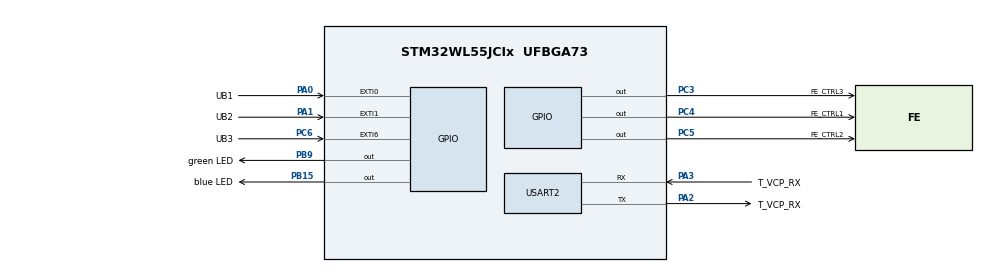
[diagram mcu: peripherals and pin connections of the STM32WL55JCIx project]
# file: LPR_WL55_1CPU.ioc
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Mcu.Family=STM32WL
Mcu.Name=STM32WL55JCIx
Mcu.Package=UFBGA73
NVIC.EXTI0_IRQn=true\:0\:0\:false\:false\:true\:true\:true\:true
NVIC.EXTI1_IRQn=true\:0\:0\:false\:false\:true\:true\:true\:true
NVIC.EXTI9_5_IRQn=true\:0\:0\:false\:false\:true\:true\:true\:true
NVIC.PriorityGroup=NVIC_PRIORITYGROUP_4
PA0.GPIO_Label=UB1
PA0.GPIO_ModeDefaultEXTI=GPIO_MODE_IT_FALLING
PA0.GPIO_PuPd=GPIO_PULLUP
PA0.Signal=GPXTI0
PA1.GPIO_Label=UB2
PA1.GPIO_ModeDefaultEXTI=GPIO_MODE_IT_FALLING
PA1.GPIO_PuPd=GPIO_PULLUP
PA1.Signal=GPXTI1
PA13.Mode=Serial_Wire
PA13.Signal=DEBUG_JTMS-SWDIO
PA14.Mode=Serial_Wire
PA14.Signal=DEBUG_JTCK-SWCLK
PA2.GPIO_Label=T_VCP_RX
PA2.Mode=Asynchronous
PA2.Signal=USART2_TX
PA3.GPIO_Label=T_VCP_RX
PA3.Mode=Asynchronous
PA3.Signal=USART2_RX
PB15.GPIO_Label=blue LED
PB15.Signal=GPIO_Output
PB9.GPIO_Label=green LED
PB9.Signal=GPIO_Output
PC14-OSC32_IN.GPIO_Label=RCC_OSC32_IN
PC14-OSC32_IN.Signal=RCC_OSC32_IN
PC15-OSC32_OUT.GPIO_Label=RCC_OSC32_OUT
PC15-OSC32_OUT.Signal=RCC_OSC32_OUT
PC3.GPIO_Label=FE_CTRL3
PC3.GPIO_Speed=GPIO_SPEED_FREQ_VERY_HIGH
PC3.Signal=GPIO_Output
PC4.GPIO_Label=FE_CTRL1
PC4.GPIO_Speed=GPIO_SPEED_FREQ_VERY_HIGH
PC4.Signal=GPIO_Output
PC5.GPIO_Label=FE_CTRL2
PC5.GPIO_Speed=GPIO_SPEED_FREQ_VERY_HIGH
PC5.Signal=GPIO_Output
PC6.GPIO_Label=UB3
PC6.GPIO_ModeDefaultEXTI=GPIO_MODE_IT_FALLING
PC6.GPIO_PuPd=GPIO_PULLUP
PC6.Signal=GPXTI6
ProjectManager.HeapSize=0x200
ProjectManager.StackSize=0x400
ProjectManager.TargetToolchain=STM32CubeIDE
RCC.AHBFreq_Value=48000000
RCC.APB1Freq_Value=48000000
RCC.APB1TimFreq_Value=48000000
RCC.APB2Freq_Value=48000000
RCC.APB2TimFreq_Value=48000000
RCC.APB3Freq_Value=48000000
RCC.CortexFreq_Value=48000000
RCC.HCLKFreq_Value=48000000
RCC.HSE_VALUE=32000000
RCC.HSI_VALUE=16000000
RCC.LSE_VALUE=32768
RCC.PLLN=24
RCC.SYSCLKFreq_VALUE=48000000
RCC.SYSCLKSource=RCC_SYSCLKSOURCE_PLLCLK
RCC.VCOOutputFreq_Value=96000000
USART2.VirtualMode-Asynchronous=VM_ASYNC
board=NUCLEO-WL55JC1

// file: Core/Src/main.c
/* USER CODE BEGIN Header */
/**
  ******************************************************************************
  * @file           : main.c
  * @brief          : Main program body
  ******************************************************************************
  * @attention
  *
  * Copyright (c) 2025 STMicroelectronics.
  * All rights reserved.
  *
  * This software is licensed under terms that can be found in the LICENSE file
  * in the root directory of this software component.
  * If no LICENSE file comes with this software, it is provided AS-IS.
  *
  ******************************************************************************
  */
/* USER CODE END Header */
#include "main.h"

/* USER CODE BEGIN Includes */
#include <stdio.h>
/* USER CODE END Includes */

UART_HandleTypeDef huart2;

void SystemClock_Config(void);
static void MX_GPIO_Init(void);
static void MX_USART2_UART_Init(void);

/* USER CODE BEGIN 0 */

/**
  * @brief Redirect the output of printf to USART2
  * @retval int
  */
int __io_putchar(int ch){
	HAL_UART_Transmit(&huart2, &ch, 1, 1000);
}

/* @brief Easier way (attempt #2) to reduce / increase HCLK1 frequency by
 * changing the AHB divider, without reconfiguring oscillators or PLL.
 * Assumes SYSCLK is initially set at 48 MHz.
 * Use register-access instructions (according to datasheet guidance),
 * on RCC clock configuration register (RCC_CFGR).
 * @params dividerX accepts the following values:
 * 2, 3, 4, 5, 6, 8, 10, 16, 32, 64, 128, 256, 512.
 * Any other value does not divide SYSCLK (1 does not divide, >512 divides too much,
 * and by default, any unusual value will not divide).
 * @retval None
 */
void Divide_HCLK1_By_X(uint16_t dividerX){
    uint8_t HCLK1_prescaler;
    if (dividerX >= 2 || dividerX <= 512){
      switch(dividerX){
        case 2:   HCLK1_prescaler = 8;    break; // "1000"
        case 3:   HCLK1_prescaler = 1;    break; // "0001"
        case 4:   HCLK1_prescaler = 9;    break; // "1001"
        case 5:   HCLK1_prescaler = 2;    break; // "0010"
        case 6:   HCLK1_prescaler = 5;    break; // "0101"
        case 8:   HCLK1_prescaler = 10;   break; // "1010"
        case 10:  HCLK1_prescaler = 6;    break; // "0110"
        case 16:  HCLK1_prescaler = 11;   break; // "1011"
        case 32:  HCLK1_prescaler = 7;    break; // "0111"
        case 64:  HCLK1_prescaler = 12;   break; // "1100"
        case 128: HCLK1_prescaler = 13;   break; // "1101"
        case 256: HCLK1_prescaler = 14;   break; // "1110"
        case 512: HCLK1_prescaler = 15;   break; // "1111"
        default:  HCLK1_prescaler = 0; break; // "0000", no division
      }
    } else HCLK1_prescaler = 0; // no division

    // Reset the current prescaler value into bits 7 to 4 (HPRE)
    RCC -> CFGR &= ~(0xF << 4);
    // Insert the new prescaler value
    RCC -> CFGR |= (HCLK1_prescaler << 4);
    /* Wait for the hardware to aknowledge the new prescaler value
     * using HCLK1 prescaler flag (HPREF) on bit 16:
     * 0 → HCLK1 prescaler value not yet applied
     * 1 → HCLK1 prescaler value applied (RCC -> CFGR & (1 << 16))
     * OR using LL function `LL_RCC_IsActiveFlag_HPRE(void)`
     */ while(!(LL_RCC_IsActiveFlag_HPRE())){}
}

/** @brief Makes the CPU goes into low power run mode,
  * according to the datasheet guidance.
  * For this first test, HSE32 is not used.
  * @retval None
  */
void Enter_LowPowerRunMode(void){
	// 1. set the FPDR bit in PWR_CR1.
	HAL_PWREx_EnableFlashPowerDown(PWR_FLASHPD_LPRUN);

	// 2. Disable HSE32 clock (optionnal if not used, which is our case here).

	// 3. Decrease the HCLK clock frequencies below 2 MHz.
	// 48 MHz / X ≤ 2 MHz → X ≥ 24; but 24 is not a usual value of divider
	// among 1, 2, 3, 4, 5, 6, 8, 10, 16, 32, 64, 128, 256 and 512.
	// So we take the next higher value, 32.
	Divide_HCLK1_By_X(32);

	// 4. Set the LPR bit in PWR_CR1.
	HAL_PWREx_EnableLowPowerRunMode();

	// 5. Check if the low-power regulator is ready,
	// by checking the REGLPS bit (PWR_SR2, bit 8)
	while(!(LL_PWR_IsActiveFlag_REGLPS())){}
}

/** @brief Wakes up the CPU from low power run mode,
  * according to the datasheet guidance.
  * For this first test, HSE32 is not used.
  * @params newHCLKFreq is the divider applied to SYSCLK (48 MHz) to increase back
  * HCLK frequency over 2 MHz, can take the following values:
  * 1, 2, 3, 4, 5, 6, 8, 10, 16, 32, 64, 128, 256, 512, but MUST BE lower than 24;
  * e.g. among the nine first values.
  * @retval None
  */
void Exit_LowPowerRunMode(uint8_t newHCLKFreq){
	// 1. Clear the LPR bit in PWR_CR1, and,
	// 2. wait until REGLPF bit is cleared in PWR_SR2.
	HAL_PWREx_DisableLowPowerRunMode();

	// 3. Increase the HCLK clock frequencies over 2 MHz.
	// 48 MHz / X ≥ 2 MHz → X ≤ 24; but 24 is not
	// a usual value of divider (1, 2, 3, 4, 5, 6, 8, 10, 16, 32, 64, 128, 256, 512).
	// So we can take one of the nine lower values, 1 to 16.
	Divide_HCLK1_By_X(newHCLKFreq);
	// (HSE32 is not used here, so we skip this optionnal step.)

	// 4. Reinitialize the USART2 peripheral (since changing the HCLK frequency
	// impacts the related peripherals, such as USART2).
	MX_USART2_UART_Init();
}

/**
  * @brief Simple software delay (blocking)
  * @param ms: approximate milliseconds to delay (not precise, depends on CPU speed)
  * @retval None
  */
void delay(uint32_t ms)
{
    uint32_t freq = HAL_RCC_GetHCLKFreq();
    uint32_t count = (freq / 4000) * ms; // 4 cycles per loop (approx.)
    while(count--) {
        __NOP();
    }
}
/* USER CODE END 0 */

int main(void)
{

  /* MCU Configuration--------------------------------------------------------*/

  /* Reset of all peripherals, Initializes the Flash interface and the Systick. */
  HAL_Init();

  /* Configure the system clock */
  SystemClock_Config();

  /* Initialize all configured peripherals */
  MX_GPIO_Init();
  MX_USART2_UART_Init();

  /* Infinite loop */
  /* USER CODE BEGIN WHILE */
  	  printf("\r\n\r\nTest d'une appli mode veille sur STM32\r\n");

  while (1)
  {
	  printf("Exécution de la boucle While\r\n");
	  printf("Le µCU entre en mode Low Power Run pendant x secondes\r\n\r\n");
	  __HAL_RCC_USART1_CLK_SLEEP_DISABLE(); // Clock-gating the USART2 peripheral

	  Enter_LowPowerRunMode();

	  /* ####----####----####----####----####
	   * MCU is running in low power run mode
	   * ####----####----####----####----####
	   */
    /* USER CODE END WHILE */

  }
}

void SystemClock_Config(void)
{
  RCC_OscInitTypeDef RCC_OscInitStruct = {0};
  RCC_ClkInitTypeDef RCC_ClkInitStruct = {0};

  /** Configure the main internal regulator output voltage
  */
  __HAL_PWR_VOLTAGESCALING_CONFIG(PWR_REGULATOR_VOLTAGE_SCALE1);

  /** Initializes the CPU, AHB and APB buses clocks
  */
  RCC_OscInitStruct.OscillatorType = RCC_OSCILLATORTYPE_MSI;
  RCC_OscInitStruct.MSIState = RCC_MSI_ON;
  RCC_OscInitStruct.MSICalibrationValue = RCC_MSICALIBRATION_DEFAULT;
  RCC_OscInitStruct.MSIClockRange = RCC_MSIRANGE_6;
  RCC_OscInitStruct.PLL.PLLState = RCC_PLL_ON;
  RCC_OscInitStruct.PLL.PLLSource = RCC_PLLSOURCE_MSI;
  RCC_OscInitStruct.PLL.PLLM = RCC_PLLM_DIV1;
  RCC_OscInitStruct.PLL.PLLN = 24;
  RCC_OscInitStruct.PLL.PLLP = RCC_PLLP_DIV2;
  RCC_OscInitStruct.PLL.PLLR = RCC_PLLR_DIV2;
  RCC_OscInitStruct.PLL.PLLQ = RCC_PLLQ_DIV2;
  if (HAL_RCC_OscConfig(&RCC_OscInitStruct) != HAL_OK)
  {
    Error_Handler();
  }

  /** Configure the SYSCLKSource, HCLK, PCLK1 and PCLK2 clocks dividers
  */
  RCC_ClkInitStruct.ClockType = RCC_CLOCKTYPE_HCLK3|RCC_CLOCKTYPE_HCLK
                              |RCC_CLOCKTYPE_SYSCLK|RCC_CLOCKTYPE_PCLK1
                              |RCC_CLOCKTYPE_PCLK2;
  RCC_ClkInitStruct.SYSCLKSource = RCC_SYSCLKSOURCE_PLLCLK;
  RCC_ClkInitStruct.AHBCLKDivider = RCC_SYSCLK_DIV1;
  RCC_ClkInitStruct.APB1CLKDivider = RCC_HCLK_DIV1;
  RCC_ClkInitStruct.APB2CLKDivider = RCC_HCLK_DIV1;
  RCC_ClkInitStruct.AHBCLK3Divider = RCC_SYSCLK_DIV1;

  if (HAL_RCC_ClockConfig(&RCC_ClkInitStruct, FLASH_LATENCY_2) != HAL_OK)
  {
    Error_Handler();
  }
}

static void MX_USART2_UART_Init(void)
{

  huart2.Instance = USART2;
  huart2.Init.BaudRate = 115200;
  huart2.Init.WordLength = UART_WORDLENGTH_8B;
  huart2.Init.StopBits = UART_STOPBITS_1;
  huart2.Init.Parity = UART_PARITY_NONE;
  huart2.Init.Mode = UART_MODE_TX_RX;
  huart2.Init.HwFlowCtl = UART_HWCONTROL_NONE;
  huart2.Init.OverSampling = UART_OVERSAMPLING_16;
  huart2.Init.OneBitSampling = UART_ONE_BIT_SAMPLE_DISABLE;
  huart2.Init.ClockPrescaler = UART_PRESCALER_DIV1;
  huart2.AdvancedInit.AdvFeatureInit = UART_ADVFEATURE_NO_INIT;
  if (HAL_UART_Init(&huart2) != HAL_OK)
  {
    Error_Handler();
  }
  if (HAL_UARTEx_SetTxFifoThreshold(&huart2, UART_TXFIFO_THRESHOLD_1_8) != HAL_OK)
  {
    Error_Handler();
  }
  if (HAL_UARTEx_SetRxFifoThreshold(&huart2, UART_RXFIFO_THRESHOLD_1_8) != HAL_OK)
  {
    Error_Handler();
  }
  if (HAL_UARTEx_DisableFifoMode(&huart2) != HAL_OK)
  {
    Error_Handler();
  }

}

static void MX_GPIO_Init(void)
{
  GPIO_InitTypeDef GPIO_InitStruct = {0};

  /* GPIO Ports Clock Enable */
  __HAL_RCC_GPIOA_CLK_ENABLE();
  __HAL_RCC_GPIOB_CLK_ENABLE();
  __HAL_RCC_GPIOC_CLK_ENABLE();

  /*Configure GPIO pin Output Level */
  HAL_GPIO_WritePin(GPIOB, blue_LED_Pin|green_LED_Pin, GPIO_PIN_RESET);

  /*Configure GPIO pin Output Level */
  HAL_GPIO_WritePin(GPIOC, FE_CTRL3_Pin|FE_CTRL2_Pin|FE_CTRL1_Pin, GPIO_PIN_RESET);

  /*Configure GPIO pins : blue_LED_Pin green_LED_Pin */
  GPIO_InitStruct.Pin = blue_LED_Pin|green_LED_Pin;
  GPIO_InitStruct.Mode = GPIO_MODE_OUTPUT_PP;
  GPIO_InitStruct.Pull = GPIO_NOPULL;
  GPIO_InitStruct.Speed = GPIO_SPEED_FREQ_LOW;
  HAL_GPIO_Init(GPIOB, &GPIO_InitStruct);

  /*Configure GPIO pins : FE_CTRL3_Pin FE_CTRL2_Pin FE_CTRL1_Pin */
  GPIO_InitStruct.Pin = FE_CTRL3_Pin|FE_CTRL2_Pin|FE_CTRL1_Pin;
  GPIO_InitStruct.Mode = GPIO_MODE_OUTPUT_PP;
  GPIO_InitStruct.Pull = GPIO_NOPULL;
  GPIO_InitStruct.Speed = GPIO_SPEED_FREQ_VERY_HIGH;
  HAL_GPIO_Init(GPIOC, &GPIO_InitStruct);

  /*Configure GPIO pins : UB1_Pin UB2_Pin */
  GPIO_InitStruct.Pin = UB1_Pin|UB2_Pin;
  GPIO_InitStruct.Mode = GPIO_MODE_IT_FALLING;
  GPIO_InitStruct.Pull = GPIO_PULLUP;
  HAL_GPIO_Init(GPIOA, &GPIO_InitStruct);

  /*Configure GPIO pin : UB3_Pin */
  GPIO_InitStruct.Pin = UB3_Pin;
  GPIO_InitStruct.Mode = GPIO_MODE_IT_FALLING;
  GPIO_InitStruct.Pull = GPIO_PULLUP;
  HAL_GPIO_Init(UB3_GPIO_Port, &GPIO_InitStruct);

  /* EXTI interrupt init*/
  HAL_NVIC_SetPriority(EXTI0_IRQn, 0, 0);
  HAL_NVIC_EnableIRQ(EXTI0_IRQn);

  HAL_NVIC_SetPriority(EXTI1_IRQn, 0, 0);
  HAL_NVIC_EnableIRQ(EXTI1_IRQn);

  HAL_NVIC_SetPriority(EXTI9_5_IRQn, 0, 0);
  HAL_NVIC_EnableIRQ(EXTI9_5_IRQn);

}

/* USER CODE BEGIN 4 */
/** @brief User-defined ISR when pressing any of the buttons,
  * text is displayed and LEDs are blinking
  * @retval None
  */
void HAL_GPIO_EXTI_Callback(uint16_t GPIO_Pin){
	// Exit the low power run mode before doing anything else;
	// we're going back to 48 MHz, for this first test.
	Exit_LowPowerRunMode(1);

	// If user button 1 (UB1, on PA0) is pressed,
	// the according text is displayed
	if (GPIO_Pin == UB1_Pin){ printf("Sortie par pression du Bouton 1\r\n");
		  HAL_GPIO_TogglePin(GPIOB, GPIO_PIN_15); delay(200);
		  HAL_GPIO_TogglePin(GPIOB, GPIO_PIN_15); delay(200);
		  HAL_GPIO_TogglePin(GPIOB, GPIO_PIN_15); delay(200);
		  HAL_GPIO_TogglePin(GPIOB, GPIO_PIN_15); delay(200);
	}

	// If user button 2 (UB2, on PA1) is pressed,
	// the according text is displayed
	if (GPIO_Pin == UB2_Pin){ printf("Sortie par pression du Bouton 2\r\n");
	  HAL_GPIO_TogglePin(GPIOB, GPIO_PIN_15); delay(200);
	  HAL_GPIO_TogglePin(GPIOB, GPIO_PIN_15); delay(200);
	  HAL_GPIO_TogglePin(GPIOB, GPIO_PIN_9); delay(200);
	  HAL_GPIO_TogglePin(GPIOB, GPIO_PIN_9); delay(200);
	}

	// If user button 3 (UB3, on PC6) is pressed,
	// the according text is displayed
	if (GPIO_Pin == UB3_Pin){ printf("Sortie par pression du Bouton 3\r\n");
	  HAL_GPIO_TogglePin(GPIOB, GPIO_PIN_9); delay(200);
	  HAL_GPIO_TogglePin(GPIOB, GPIO_PIN_9); delay(200);
	  HAL_GPIO_TogglePin(GPIOB, GPIO_PIN_9); delay(200);
	  HAL_GPIO_TogglePin(GPIOB, GPIO_PIN_9); delay(200);
	}
}

/* USER CODE END 4 */

void Error_Handler(void)
{
  __disable_irq();
  while (1)
  {
  }
}
